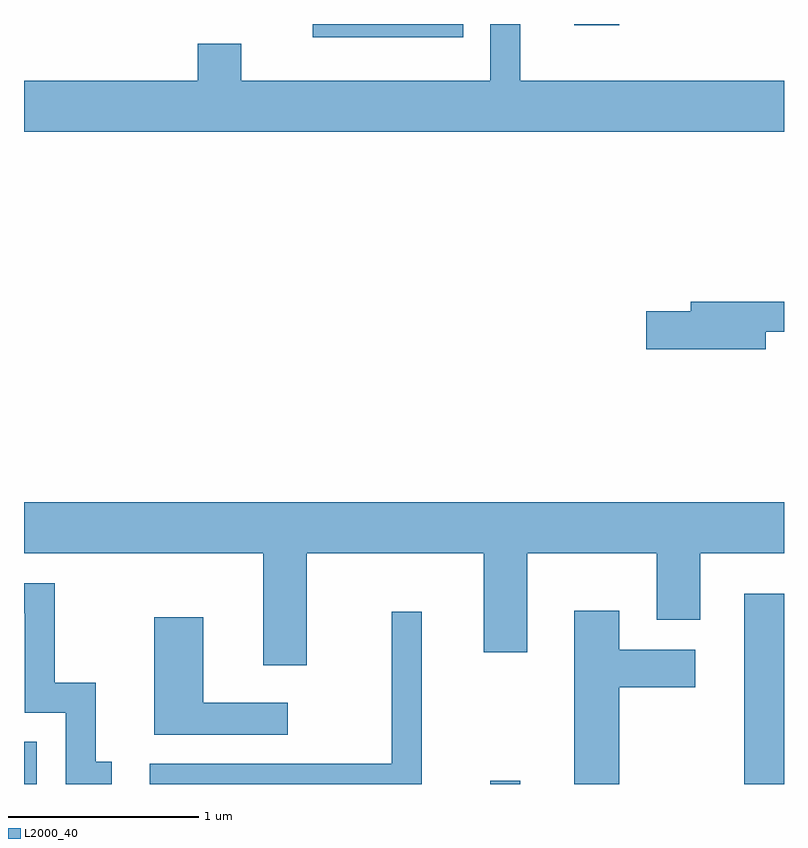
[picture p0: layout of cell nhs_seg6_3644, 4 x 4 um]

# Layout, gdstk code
import gdstk
lib = gdstk.Library(unit=1e-6, precision=1e-09)
def R(c, l, rs):  # rectangles x0, y0, x1, y1
    for r in rs: c.add(gdstk.rectangle(r[:2], r[2:], *l))
def P(c, l, *ps):  # polygons
    for p in ps: c.add(gdstk.Polygon(p, *l))
L2000_40 = (2000, 40)

nhs_seg6_3644 = lib.new_cell('nhs_seg6_3644')
R(nhs_seg6_3644, L2000_40, [(295.611,1542.162,295.679,1542.384), (298.066,1542.162,298.224,1542.178), (299.401,1542.162,299.611,1543.164), (297.131,1546.091,297.923,1546.162), (298.506,1546.156,298.744,1546.162)])
P(nhs_seg6_3644, L2000_40, [(299.611,1545.864),(298.224,1545.864),(298.224,1546.162),(298.066,1546.162),(298.066,1545.864),(296.754,1545.864),(296.754,1546.059),(296.526,1546.059),(296.526,1545.864),(295.611,1545.864),(295.611,1545.596),(299.611,1545.596)],
  [(299.514,1544.541),(299.611,1544.541),(299.611,1544.699),(299.121,1544.699),(299.121,1544.649),(298.886,1544.649),(298.886,1544.451),(299.514,1544.451)],
  [(297.099,1543.376),(298.031,1543.376),(298.031,1542.856),(298.259,1542.856),(298.259,1543.376),(298.941,1543.376),(298.941,1543.026),(299.169,1543.026),(299.169,1543.376),(299.611,1543.376),(299.611,1543.644),(295.611,1543.644),(295.611,1543.376),(296.871,1543.376),(296.871,1542.786),(297.099,1542.786)],
  [(296.073,1542.279),(295.989,1542.279),(295.989,1542.694),(295.774,1542.694),(295.774,1543.219),(295.611,1543.219),(295.611,1543.061),(295.616,1543.061),(295.616,1542.536),(295.831,1542.536),(295.831,1542.162),(296.073,1542.162)],
  [(298.744,1542.671),(299.144,1542.671),(299.144,1542.869),(298.744,1542.869),(298.744,1543.074),(298.506,1543.074),(298.506,1542.162),(298.744,1542.162)],
  [(297.704,1543.068),(297.546,1543.068),(297.546,1542.269),(296.273,1542.269),(296.273,1542.162),(297.704,1542.162)],
  [(296.998,1542.589),(296.554,1542.589),(296.554,1543.039),(296.296,1543.039),(296.296,1542.421),(296.998,1542.421)])

lib.write_gds('nhs_seg6_3644.gds')
